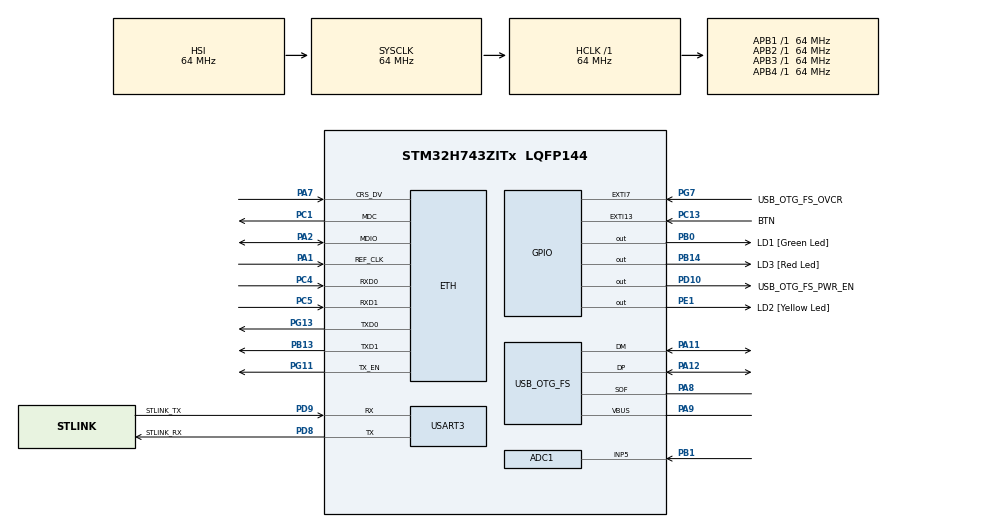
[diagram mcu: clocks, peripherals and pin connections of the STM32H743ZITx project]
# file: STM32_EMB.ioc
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ADC1.Channel-2\#ChannelRegularConversion=ADC_CHANNEL_5
ADC1.ClockPrescaler=ADC_CLOCK_ASYNC_DIV2
ADC1.ContinuousConvMode=ENABLE
ADC1.ConversionDataManagement=ADC_CONVERSIONDATA_DMA_CIRCULAR
ADC1.EnableRegularConversion=ENABLE
ADC1.NbrOfConversion=1
ADC1.NbrOfConversionFlag=1
ADC1.OffsetNumber-2\#ChannelRegularConversion=ADC_OFFSET_NONE
ADC1.Rank-2\#ChannelRegularConversion=1
ADC1.Resolution=ADC_RESOLUTION_12B
ADC1.SamplingTime-2\#ChannelRegularConversion=ADC_SAMPLETIME_1CYCLE_5
ADC1.master=1
Dma.ADC1.0.Direction=DMA_PERIPH_TO_MEMORY
Dma.ADC1.0.EventEnable=DISABLE
Dma.ADC1.0.FIFOMode=DMA_FIFOMODE_DISABLE
Dma.ADC1.0.Instance=DMA2_Stream0
Dma.ADC1.0.MemDataAlignment=DMA_MDATAALIGN_WORD
Dma.ADC1.0.MemInc=DMA_MINC_ENABLE
Dma.ADC1.0.Mode=DMA_CIRCULAR
Dma.ADC1.0.PeriphDataAlignment=DMA_PDATAALIGN_WORD
Dma.ADC1.0.PeriphInc=DMA_PINC_DISABLE
Dma.ADC1.0.Polarity=HAL_DMAMUX_REQ_GEN_RISING
Dma.ADC1.0.Priority=DMA_PRIORITY_LOW
Dma.ADC1.0.RequestNumber=1
Dma.ADC1.0.SignalID=NONE
Dma.ADC1.0.SyncEnable=DISABLE
Dma.ADC1.0.SyncPolarity=HAL_DMAMUX_SYNC_NO_EVENT
Dma.ADC1.0.SyncRequestNumber=1
Dma.ADC1.0.SyncSignalID=NONE
Dma.Request0=ADC1
ETH.MediaInterface=HAL_ETH_RMII_MODE
Mcu.Family=STM32H7
Mcu.Name=STM32H743ZITx
Mcu.Package=LQFP144
NVIC.DMA2_Stream0_IRQn=true\:0\:0\:false\:false\:true\:false\:true\:true
NVIC.EXTI15_10_IRQn=true\:0\:0\:false\:false\:true\:true\:true\:true
NVIC.PriorityGroup=NVIC_PRIORITYGROUP_4
NVIC.TIM3_IRQn=true\:0\:0\:false\:false\:true\:true\:true\:true
PA1.Mode=RMII
PA1.Signal=ETH_REF_CLK
PA11.Mode=Device_Only
PA11.Signal=USB_OTG_FS_DM
PA12.Mode=Device_Only
PA12.Signal=USB_OTG_FS_DP
PA2.Mode=RMII
PA2.Signal=ETH_MDIO
PA7.Mode=RMII
PA7.Signal=ETH_CRS_DV
PA8.Mode=Activate_SOF_FS
PA8.Signal=USB_OTG_FS_SOF
PA9.Mode=Activate_VBUS
PA9.Signal=USB_OTG_FS_VBUS
PB0.GPIO_Label=LD1 [Green Led]
PB0.Signal=GPIO_Output
PB1.Signal=ADCx_INP5
PB13.Mode=RMII
PB13.Signal=ETH_TXD1
PB14.GPIO_Label=LD3 [Red Led]
PB14.Signal=GPIO_Output
PC1.Mode=RMII
PC1.Signal=ETH_MDC
PC13.GPIO_Label=BTN
PC13.GPIO_ModeDefaultEXTI=GPIO_MODE_IT_FALLING
PC13.Signal=GPXTI13
PC14-OSC32_IN\ (OSC32_IN).Mode=LSE-External-Oscillator
PC14-OSC32_IN\ (OSC32_IN).Signal=RCC_OSC32_IN
PC15-OSC32_OUT\ (OSC32_OUT).Mode=LSE-External-Oscillator
PC15-OSC32_OUT\ (OSC32_OUT).Signal=RCC_OSC32_OUT
PC4.Mode=RMII
PC4.Signal=ETH_RXD0
PC5.Mode=RMII
PC5.Signal=ETH_RXD1
PD10.GPIO_Label=USB_OTG_FS_PWR_EN
PD10.Signal=GPIO_Output
PD8.GPIO_Label=STLINK_RX
PD8.Mode=Asynchronous
PD8.Signal=USART3_TX
PD9.GPIO_Label=STLINK_TX
PD9.Mode=Asynchronous
PD9.Signal=USART3_RX
PE1.GPIO_Label=LD2 [Yellow Led]
PE1.Signal=GPIO_Output
PG11.Mode=RMII
PG11.Signal=ETH_TX_EN
PG13.Mode=RMII
PG13.Signal=ETH_TXD0
PG7.GPIO_Label=USB_OTG_FS_OVCR
PG7.Signal=GPXTI7
PH0-OSC_IN\ (PH0).Mode=HSE-External-Clock-Source
PH0-OSC_IN\ (PH0).Signal=RCC_OSC_IN
PH1-OSC_OUT\ (PH1).Signal=RCC_OSC_OUT
ProjectManager.HeapSize=0x200
ProjectManager.StackSize=0x400
ProjectManager.TargetToolchain=STM32CubeIDE
RCC.ADCFreq_Value=37500000
RCC.APB1Freq_Value=64000000
RCC.APB2Freq_Value=64000000
RCC.APB3Freq_Value=64000000
RCC.APB4Freq_Value=64000000
RCC.CortexFreq_Value=64000000
RCC.DIVM1=1
RCC.DIVM2=1
RCC.DIVN1=18
RCC.DIVN2=18
RCC.DIVP2=4
RCC.DIVQ1=3
RCC.HCLKFreq_Value=64000000
RCC.HSE_VALUE=8000000
RCC.PLL2FRACN=6144
RCC.PLLFRACN=6144
RCC.PWR_Regulator_Voltage_Scale=PWR_REGULATOR_VOLTAGE_SCALE2
RCC.SYSCLKFreq_VALUE=64000000
RCC.USBFreq_Value=50000000
SH.ADCx_INP5.0=ADC1_INP5,IN5-Single-Ended
TIM3.Period=6399
TIM3.Prescaler=8399
USART3.VirtualMode-Asynchronous=VM_ASYNC
USB_OTG_FS.VirtualMode=Device_Only
VP_TIM3_VS_ClockSourceINT.Mode=Internal
board=NUCLEO-H743ZI2

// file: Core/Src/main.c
/* USER CODE BEGIN Header */
/**
  ******************************************************************************
  * @file           : main.c
  * @brief          : Main program body
  ******************************************************************************
  * @attention
  *
  * Copyright (c) 2023 STMicroelectronics.
  * All rights reserved.
  *
  * This software is licensed under terms that can be found in the LICENSE file
  * in the root directory of this software component.
  * If no LICENSE file comes with this software, it is provided AS-IS.
  *
  ******************************************************************************
  */
/* USER CODE END Header */
#include "main.h"
#include "string.h"

/* USER CODE BEGIN Includes */
#include <stdio.h>
#include "variables.h"
#include "ea_drv_gpio.h"
#include <stdint.h>
/* USER CODE END Includes */

#if defined ( __ICCARM__ ) /*!< IAR Compiler */
#pragma location=0x30000000
ETH_DMADescTypeDef  DMARxDscrTab[ETH_RX_DESC_CNT]; /* Ethernet Rx DMA Descriptors */
#pragma location=0x30000200
ETH_DMADescTypeDef  DMATxDscrTab[ETH_TX_DESC_CNT]; /* Ethernet Tx DMA Descriptors */

#elif defined ( __CC_ARM )  /* MDK ARM Compiler */

__attribute__((at(0x30000000))) ETH_DMADescTypeDef  DMARxDscrTab[ETH_RX_DESC_CNT]; /* Ethernet Rx DMA Descriptors */
__attribute__((at(0x30000200))) ETH_DMADescTypeDef  DMATxDscrTab[ETH_TX_DESC_CNT]; /* Ethernet Tx DMA Descriptors */

#elif defined ( __GNUC__ ) /* GNU Compiler */
ETH_DMADescTypeDef DMARxDscrTab[ETH_RX_DESC_CNT] __attribute__((section(".RxDecripSection"))); /* Ethernet Rx DMA Descriptors */
ETH_DMADescTypeDef DMATxDscrTab[ETH_TX_DESC_CNT] __attribute__((section(".TxDecripSection")));   /* Ethernet Tx DMA Descriptors */

#endif

ETH_TxPacketConfig TxConfig;

ADC_HandleTypeDef hadc1;
DMA_HandleTypeDef hdma_adc1;

ETH_HandleTypeDef heth;

TIM_HandleTypeDef htim3;

UART_HandleTypeDef huart3;

PCD_HandleTypeDef hpcd_USB_OTG_FS;

/* USER CODE BEGIN PV */
extern int i;
extern float voltage;
extern int counterButton;
extern uint32_t timer1Sec;
uint32_t adc_buffer[ADC_BUFFER_SIZE];

/* USER CODE END PV */

void SystemClock_Config(void);
static void MX_GPIO_Init(void);
static void MX_DMA_Init(void);
static void MX_USART3_UART_Init(void);
static void MX_USB_OTG_FS_PCD_Init(void);
static void MX_TIM3_Init(void);
static void MX_ETH_Init(void);
static void MX_ADC1_Init(void);

/* USER CODE BEGIN 0 */
void resetLeds()
{
	HAL_GPIO_WritePin(LD2_GPIO_Port, LD2_Pin, RESET);
	HAL_GPIO_WritePin(LD3_GPIO_Port, LD3_Pin, RESET);
}
float iir(float newSample){
	float Acoef[2] = {
			5.919070381840544570E-2,
			5.919070381840544570E-2
	};
	float Bcoef[2] = {
			1.00000000000000000000000,
			-8.8161859236131890020E-1
	};
	static float x[2];
	static float y[2];
	int n;
	for(n=1;n>0;n--){
		x[n] = x[n-1];
		y[n] = y[n-1];
	}
	x[0] = newSample;
	y[0] = Acoef[0] * x[0];

	for(n=1;n<=1;n++){

		y[0] += Acoef[n] * x[n] - Bcoef[n] * y[n];
	}
	return y[0];
}
/* USER CODE END 0 */

int main(void)
{

  /* MCU Configuration--------------------------------------------------------*/

  /* Reset of all peripherals, Initializes the Flash interface and the Systick. */
  HAL_Init();

  /* Configure the system clock */
  SystemClock_Config();

  /* Initialize all configured peripherals */
  MX_GPIO_Init();
  MX_DMA_Init();
  MX_USART3_UART_Init();
  MX_USB_OTG_FS_PCD_Init();
  MX_TIM3_Init();
  MX_ETH_Init();
  MX_ADC1_Init();
  /* USER CODE BEGIN 2 */
  HAL_TIM_Base_Start_IT(&htim3);
  HAL_DMA_Init(&hdma_adc1);
  HAL_ADC_Init(&hadc1);
  HAL_ADC_Start_DMA(&hadc1, (uint32_t *)adc_buffer, ADC_BUFFER_SIZE);

  /* USER CODE END 2 */

  /* Infinite loop */
  while (1)
  {

    /* USER CODE BEGIN 3 */

	  switch (counterButton)
	  {
		case 1: HAL_GPIO_WritePin(LD2_GPIO_Port, LD2_Pin,SET);
				HAL_GPIO_WritePin(LD3_GPIO_Port, LD3_Pin,RESET);
		break;

		case 2: HAL_GPIO_WritePin(LD3_GPIO_Port, LD3_Pin,SET);
				HAL_GPIO_WritePin(LD2_GPIO_Port, LD2_Pin,RESET);

		break;
		//case 3: HAL_TIM_Base_Start_IT(&htim3);
		default: counterButton =0; resetLeds();
			break;
	  }
	  char voltageStr[20]; // This buffer will hold the converted string
	 snprintf(voltageStr, sizeof(voltageStr), "%.2f\r\n", voltage);
	 if(timer1Sec>=1){
		// HAL_UART_Transmit(&huart3,(uint8_t *) timer1Sec , sizeof(timer1Sec), 100);
		 //HAL_UART_Transmit(&huart3,(uint8_t *) "\r\n", sizeof("\r\n"), 100);
		 timer1Sec = 0;
		 //HAL_UART_Transmit(&huart3, (uint8_t*)voltageStr, strlen(voltageStr), HAL_MAX_DELAY);
	 }
	 // HAL_UART_Transmit(&huart3,(uint8_t *) "** TESTE **\r\n", sizeof("** TESTE **\r\n"), 100);

	  HAL_ADC_Start_IT(&hadc1);
	 // voltage = (adc_buffer[0] / 4095.0) * 3.3;
  }
  /* USER CODE END 3 */
}

void SystemClock_Config(void)
{
  RCC_OscInitTypeDef RCC_OscInitStruct = {0};
  RCC_ClkInitTypeDef RCC_ClkInitStruct = {0};

  /** Supply configuration update enable
  */
  HAL_PWREx_ConfigSupply(PWR_LDO_SUPPLY);

  /** Configure the main internal regulator output voltage
  */
  __HAL_PWR_VOLTAGESCALING_CONFIG(PWR_REGULATOR_VOLTAGE_SCALE2);

  while(!__HAL_PWR_GET_FLAG(PWR_FLAG_VOSRDY)) {}

  /** Initializes the RCC Oscillators according to the specified parameters
  * in the RCC_OscInitTypeDef structure.
  */
  RCC_OscInitStruct.OscillatorType = RCC_OSCILLATORTYPE_HSI|RCC_OSCILLATORTYPE_HSE;
  RCC_OscInitStruct.HSEState = RCC_HSE_BYPASS;
  RCC_OscInitStruct.HSIState = RCC_HSI_DIV1;
  RCC_OscInitStruct.HSICalibrationValue = RCC_HSICALIBRATION_DEFAULT;
  RCC_OscInitStruct.PLL.PLLState = RCC_PLL_ON;
  RCC_OscInitStruct.PLL.PLLSource = RCC_PLLSOURCE_HSE;
  RCC_OscInitStruct.PLL.PLLM = 1;
  RCC_OscInitStruct.PLL.PLLN = 18;
  RCC_OscInitStruct.PLL.PLLP = 2;
  RCC_OscInitStruct.PLL.PLLQ = 3;
  RCC_OscInitStruct.PLL.PLLR = 2;
  RCC_OscInitStruct.PLL.PLLRGE = RCC_PLL1VCIRANGE_3;
  RCC_OscInitStruct.PLL.PLLVCOSEL = RCC_PLL1VCOMEDIUM;
  RCC_OscInitStruct.PLL.PLLFRACN = 6144;
  if (HAL_RCC_OscConfig(&RCC_OscInitStruct) != HAL_OK)
  {
    Error_Handler();
  }

  /** Initializes the CPU, AHB and APB buses clocks
  */
  RCC_ClkInitStruct.ClockType = RCC_CLOCKTYPE_HCLK|RCC_CLOCKTYPE_SYSCLK
                              |RCC_CLOCKTYPE_PCLK1|RCC_CLOCKTYPE_PCLK2
                              |RCC_CLOCKTYPE_D3PCLK1|RCC_CLOCKTYPE_D1PCLK1;
  RCC_ClkInitStruct.SYSCLKSource = RCC_SYSCLKSOURCE_HSI;
  RCC_ClkInitStruct.SYSCLKDivider = RCC_SYSCLK_DIV1;
  RCC_ClkInitStruct.AHBCLKDivider = RCC_HCLK_DIV1;
  RCC_ClkInitStruct.APB3CLKDivider = RCC_APB3_DIV1;
  RCC_ClkInitStruct.APB1CLKDivider = RCC_APB1_DIV1;
  RCC_ClkInitStruct.APB2CLKDivider = RCC_APB2_DIV1;
  RCC_ClkInitStruct.APB4CLKDivider = RCC_APB4_DIV1;

  if (HAL_RCC_ClockConfig(&RCC_ClkInitStruct, FLASH_LATENCY_1) != HAL_OK)
  {
    Error_Handler();
  }
}

static void MX_ADC1_Init(void)
{

  ADC_MultiModeTypeDef multimode = {0};
  ADC_ChannelConfTypeDef sConfig = {0};

  /** Common config
  */
  hadc1.Instance = ADC1;
  hadc1.Init.ClockPrescaler = ADC_CLOCK_ASYNC_DIV2;
  hadc1.Init.Resolution = ADC_RESOLUTION_12B;
  hadc1.Init.ScanConvMode = ADC_SCAN_DISABLE;
  hadc1.Init.EOCSelection = ADC_EOC_SINGLE_CONV;
  hadc1.Init.LowPowerAutoWait = DISABLE;
  hadc1.Init.ContinuousConvMode = ENABLE;
  hadc1.Init.NbrOfConversion = 1;
  hadc1.Init.DiscontinuousConvMode = DISABLE;
  hadc1.Init.ExternalTrigConv = ADC_SOFTWARE_START;
  hadc1.Init.ExternalTrigConvEdge = ADC_EXTERNALTRIGCONVEDGE_NONE;
  hadc1.Init.ConversionDataManagement = ADC_CONVERSIONDATA_DMA_CIRCULAR;
  hadc1.Init.Overrun = ADC_OVR_DATA_PRESERVED;
  hadc1.Init.LeftBitShift = ADC_LEFTBITSHIFT_NONE;
  hadc1.Init.OversamplingMode = DISABLE;
  if (HAL_ADC_Init(&hadc1) != HAL_OK)
  {
    Error_Handler();
  }

  /** Configure the ADC multi-mode
  */
  multimode.Mode = ADC_MODE_INDEPENDENT;
  if (HAL_ADCEx_MultiModeConfigChannel(&hadc1, &multimode) != HAL_OK)
  {
    Error_Handler();
  }

  /** Configure Regular Channel
  */
  sConfig.Channel = ADC_CHANNEL_5;
  sConfig.Rank = ADC_REGULAR_RANK_1;
  sConfig.SamplingTime = ADC_SAMPLETIME_1CYCLE_5;
  sConfig.SingleDiff = ADC_SINGLE_ENDED;
  sConfig.OffsetNumber = ADC_OFFSET_NONE;
  sConfig.Offset = 0;
  if (HAL_ADC_ConfigChannel(&hadc1, &sConfig) != HAL_OK)
  {
    Error_Handler();
  }

}

static void MX_ETH_Init(void)
{

   static uint8_t MACAddr[6];

  heth.Instance = ETH;
  MACAddr[0] = 0x00;
  MACAddr[1] = 0x80;
  MACAddr[2] = 0xE1;
  MACAddr[3] = 0x00;
  MACAddr[4] = 0x00;
  MACAddr[5] = 0x00;
  heth.Init.MACAddr = &MACAddr[0];
  heth.Init.MediaInterface = HAL_ETH_RMII_MODE;
  heth.Init.TxDesc = DMATxDscrTab;
  heth.Init.RxDesc = DMARxDscrTab;
  heth.Init.RxBuffLen = 1524;

  if (HAL_ETH_Init(&heth) != HAL_OK)
  {
    Error_Handler();
  }

  memset(&TxConfig, 0 , sizeof(ETH_TxPacketConfig));
  TxConfig.Attributes = ETH_TX_PACKETS_FEATURES_CSUM | ETH_TX_PACKETS_FEATURES_CRCPAD;
  TxConfig.ChecksumCtrl = ETH_CHECKSUM_IPHDR_PAYLOAD_INSERT_PHDR_CALC;
  TxConfig.CRCPadCtrl = ETH_CRC_PAD_INSERT;

}

static void MX_TIM3_Init(void)
{

  TIM_ClockConfigTypeDef sClockSourceConfig = {0};
  TIM_MasterConfigTypeDef sMasterConfig = {0};

  htim3.Instance = TIM3;
  htim3.Init.Prescaler = 199;
  htim3.Init.CounterMode = TIM_COUNTERMODE_UP;
  htim3.Init.Period = 6399;
  htim3.Init.ClockDivision = TIM_CLOCKDIVISION_DIV1;
  htim3.Init.AutoReloadPreload = TIM_AUTORELOAD_PRELOAD_DISABLE;
  if (HAL_TIM_Base_Init(&htim3) != HAL_OK)
  {
    Error_Handler();
  }
  sClockSourceConfig.ClockSource = TIM_CLOCKSOURCE_INTERNAL;
  if (HAL_TIM_ConfigClockSource(&htim3, &sClockSourceConfig) != HAL_OK)
  {
    Error_Handler();
  }
  sMasterConfig.MasterOutputTrigger = TIM_TRGO_RESET;
  sMasterConfig.MasterSlaveMode = TIM_MASTERSLAVEMODE_DISABLE;
  if (HAL_TIMEx_MasterConfigSynchronization(&htim3, &sMasterConfig) != HAL_OK)
  {
    Error_Handler();
  }

}

static void MX_USART3_UART_Init(void)
{

  huart3.Instance = USART3;
  huart3.Init.BaudRate = 115200;
  huart3.Init.WordLength = UART_WORDLENGTH_8B;
  huart3.Init.StopBits = UART_STOPBITS_1;
  huart3.Init.Parity = UART_PARITY_NONE;
  huart3.Init.Mode = UART_MODE_TX_RX;
  huart3.Init.HwFlowCtl = UART_HWCONTROL_NONE;
  huart3.Init.OverSampling = UART_OVERSAMPLING_16;
  huart3.Init.OneBitSampling = UART_ONE_BIT_SAMPLE_DISABLE;
  huart3.Init.ClockPrescaler = UART_PRESCALER_DIV1;
  huart3.AdvancedInit.AdvFeatureInit = UART_ADVFEATURE_NO_INIT;
  if (HAL_UART_Init(&huart3) != HAL_OK)
  {
    Error_Handler();
  }
  if (HAL_UARTEx_SetTxFifoThreshold(&huart3, UART_TXFIFO_THRESHOLD_1_8) != HAL_OK)
  {
    Error_Handler();
  }
  if (HAL_UARTEx_SetRxFifoThreshold(&huart3, UART_RXFIFO_THRESHOLD_1_8) != HAL_OK)
  {
    Error_Handler();
  }
  if (HAL_UARTEx_DisableFifoMode(&huart3) != HAL_OK)
  {
    Error_Handler();
  }

}

static void MX_USB_OTG_FS_PCD_Init(void)
{

  hpcd_USB_OTG_FS.Instance = USB_OTG_FS;
  hpcd_USB_OTG_FS.Init.dev_endpoints = 9;
  hpcd_USB_OTG_FS.Init.speed = PCD_SPEED_FULL;
  hpcd_USB_OTG_FS.Init.dma_enable = DISABLE;
  hpcd_USB_OTG_FS.Init.phy_itface = PCD_PHY_EMBEDDED;
  hpcd_USB_OTG_FS.Init.Sof_enable = ENABLE;
  hpcd_USB_OTG_FS.Init.low_power_enable = DISABLE;
  hpcd_USB_OTG_FS.Init.lpm_enable = DISABLE;
  hpcd_USB_OTG_FS.Init.battery_charging_enable = ENABLE;
  hpcd_USB_OTG_FS.Init.vbus_sensing_enable = ENABLE;
  hpcd_USB_OTG_FS.Init.use_dedicated_ep1 = DISABLE;
  if (HAL_PCD_Init(&hpcd_USB_OTG_FS) != HAL_OK)
  {
    Error_Handler();
  }

}

static void MX_DMA_Init(void)
{

  /* DMA controller clock enable */
  __HAL_RCC_DMA2_CLK_ENABLE();

  /* DMA interrupt init */
  /* DMA2_Stream0_IRQn interrupt configuration */
  HAL_NVIC_SetPriority(DMA2_Stream0_IRQn, 0, 0);
  HAL_NVIC_EnableIRQ(DMA2_Stream0_IRQn);

}

static void MX_GPIO_Init(void)
{
  GPIO_InitTypeDef GPIO_InitStruct = {0};

  /* GPIO Ports Clock Enable */
  __HAL_RCC_GPIOC_CLK_ENABLE();
  __HAL_RCC_GPIOH_CLK_ENABLE();
  __HAL_RCC_GPIOA_CLK_ENABLE();
  __HAL_RCC_GPIOB_CLK_ENABLE();
  __HAL_RCC_GPIOD_CLK_ENABLE();
  __HAL_RCC_GPIOG_CLK_ENABLE();
  __HAL_RCC_GPIOE_CLK_ENABLE();

  /*Configure GPIO pin Output Level */
  HAL_GPIO_WritePin(GPIOB, LD1_Pin|LD3_Pin, GPIO_PIN_RESET);

  /*Configure GPIO pin Output Level */
  HAL_GPIO_WritePin(USB_OTG_FS_PWR_EN_GPIO_Port, USB_OTG_FS_PWR_EN_Pin, GPIO_PIN_RESET);

  /*Configure GPIO pin Output Level */
  HAL_GPIO_WritePin(LD2_GPIO_Port, LD2_Pin, GPIO_PIN_RESET);

  /*Configure GPIO pin : BTN_Pin */
  GPIO_InitStruct.Pin = BTN_Pin;
  GPIO_InitStruct.Mode = GPIO_MODE_IT_FALLING;
  GPIO_InitStruct.Pull = GPIO_NOPULL;
  HAL_GPIO_Init(BTN_GPIO_Port, &GPIO_InitStruct);

  /*Configure GPIO pins : LD1_Pin LD3_Pin */
  GPIO_InitStruct.Pin = LD1_Pin|LD3_Pin;
  GPIO_InitStruct.Mode = GPIO_MODE_OUTPUT_PP;
  GPIO_InitStruct.Pull = GPIO_NOPULL;
  GPIO_InitStruct.Speed = GPIO_SPEED_FREQ_LOW;
  HAL_GPIO_Init(GPIOB, &GPIO_InitStruct);

  /*Configure GPIO pin : USB_OTG_FS_PWR_EN_Pin */
  GPIO_InitStruct.Pin = USB_OTG_FS_PWR_EN_Pin;
  GPIO_InitStruct.Mode = GPIO_MODE_OUTPUT_PP;
  GPIO_InitStruct.Pull = GPIO_NOPULL;
  GPIO_InitStruct.Speed = GPIO_SPEED_FREQ_LOW;
  HAL_GPIO_Init(USB_OTG_FS_PWR_EN_GPIO_Port, &GPIO_InitStruct);

  /*Configure GPIO pin : USB_OTG_FS_OVCR_Pin */
  GPIO_InitStruct.Pin = USB_OTG_FS_OVCR_Pin;
  GPIO_InitStruct.Mode = GPIO_MODE_IT_RISING;
  GPIO_InitStruct.Pull = GPIO_NOPULL;
  HAL_GPIO_Init(USB_OTG_FS_OVCR_GPIO_Port, &GPIO_InitStruct);

  /*Configure GPIO pin : LD2_Pin */
  GPIO_InitStruct.Pin = LD2_Pin;
  GPIO_InitStruct.Mode = GPIO_MODE_OUTPUT_PP;
  GPIO_InitStruct.Pull = GPIO_NOPULL;
  GPIO_InitStruct.Speed = GPIO_SPEED_FREQ_LOW;
  HAL_GPIO_Init(LD2_GPIO_Port, &GPIO_InitStruct);

  /* EXTI interrupt init*/
  HAL_NVIC_SetPriority(EXTI15_10_IRQn, 0, 0);
  HAL_NVIC_EnableIRQ(EXTI15_10_IRQn);

}

void Error_Handler(void)
{
  __disable_irq();
  while (1)
  {
  }
}
